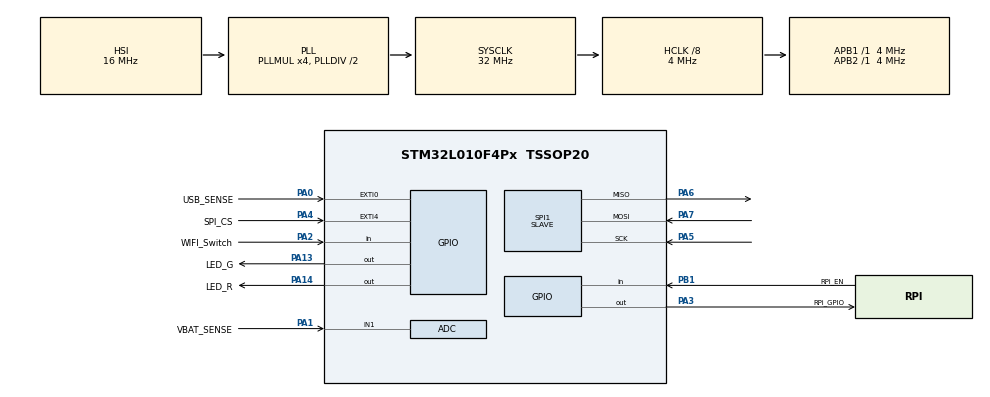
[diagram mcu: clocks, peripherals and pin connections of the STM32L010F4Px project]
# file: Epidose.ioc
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ADC.ClockPrescaler=ADC_CLOCK_ASYNC_DIV64
ADC.ContinuousConvMode=DISABLE
ADC.DMAContinuousRequests=DISABLE
ADC.ExternalTrigConv=ADC_SOFTWARE_START
ADC.LowPowerAutoWait=DISABLE
ADC.Resolution=ADC_RESOLUTION_12B
ADC.SamplingTime=ADC_SAMPLETIME_160CYCLES_5
Dma.Request0=SPI1_RX
Dma.Request1=SPI1_TX
Dma.SPI1_RX.0.Direction=DMA_PERIPH_TO_MEMORY
Dma.SPI1_RX.0.Instance=DMA1_Channel2
Dma.SPI1_RX.0.MemDataAlignment=DMA_MDATAALIGN_BYTE
Dma.SPI1_RX.0.MemInc=DMA_MINC_ENABLE
Dma.SPI1_RX.0.Mode=DMA_NORMAL
Dma.SPI1_RX.0.PeriphDataAlignment=DMA_PDATAALIGN_BYTE
Dma.SPI1_RX.0.PeriphInc=DMA_PINC_DISABLE
Dma.SPI1_RX.0.Priority=DMA_PRIORITY_LOW
Dma.SPI1_TX.1.Direction=DMA_MEMORY_TO_PERIPH
Dma.SPI1_TX.1.Instance=DMA1_Channel3
Dma.SPI1_TX.1.MemDataAlignment=DMA_MDATAALIGN_BYTE
Dma.SPI1_TX.1.MemInc=DMA_MINC_ENABLE
Dma.SPI1_TX.1.Mode=DMA_NORMAL
Dma.SPI1_TX.1.PeriphDataAlignment=DMA_PDATAALIGN_BYTE
Dma.SPI1_TX.1.PeriphInc=DMA_PINC_DISABLE
Dma.SPI1_TX.1.Priority=DMA_PRIORITY_LOW
Mcu.Family=STM32L0
Mcu.Name=STM32L010F4Px
Mcu.Package=TSSOP20
NVIC.DMA1_Channel2_3_IRQn=true\:0\:0\:false\:false\:true\:false\:true
NVIC.EXTI0_1_IRQn=true\:0\:0\:false\:false\:true\:true\:true
NVIC.EXTI4_15_IRQn=true\:0\:0\:false\:false\:true\:true\:true
NVIC.TIM2_IRQn=true\:0\:0\:false\:false\:true\:true\:true
PA0-CK_IN.GPIO_Label=USB_SENSE
PA0-CK_IN.GPIO_ModeDefaultEXTI=GPIO_MODE_IT_RISING_FALLING
PA0-CK_IN.Signal=GPXTI0
PA1.GPIO_Label=VBAT_SENSE
PA1.Mode=IN1
PA1.Signal=ADC_IN1
PA13.GPIO_Label=LED_G
PA13.PinState=GPIO_PIN_SET
PA13.Signal=GPIO_Output
PA14.GPIO_Label=LED_R
PA14.PinState=GPIO_PIN_SET
PA14.Signal=GPIO_Output
PA2.GPIO_Label=WIFI_Switch
PA2.Signal=GPIO_Input
PA3.GPIO_Label=RPi_GPIO
PA3.Signal=GPIO_Output
PA4.GPIO_Label=SPI_CS
PA4.GPIO_ModeDefaultEXTI=GPIO_MODE_IT_FALLING
PA4.Signal=GPXTI4
PA5.Mode=Full_Duplex_Slave
PA5.Signal=SPI1_SCK
PA6.Mode=Full_Duplex_Slave
PA6.Signal=SPI1_MISO
PA7.Mode=Full_Duplex_Slave
PA7.Signal=SPI1_MOSI
PB1.GPIO_Label=RPi_EN
PB1.Signal=GPIO_Input
PC14-OSC32_IN.Mode=LSE-External-Oscillator
PC14-OSC32_IN.Signal=RCC_OSC32_IN
PC15-OSC32_OUT.Mode=LSE-External-Oscillator
PC15-OSC32_OUT.Signal=RCC_OSC32_OUT
ProjectManager.HeapSize=0x200
ProjectManager.StackSize=0x400
ProjectManager.TargetToolchain=STM32CubeIDE
RCC.AHBCLKDivider=RCC_SYSCLK_DIV8
RCC.AHBFreq_Value=4000000
RCC.APB1Freq_Value=4000000
RCC.APB1TimFreq_Value=4000000
RCC.APB2Freq_Value=4000000
RCC.APB2TimFreq_Value=4000000
RCC.HCLKFreq_Value=4000000
RCC.HSE_VALUE=8000000
RCC.HSI16_VALUE=16000000
RCC.HSI_VALUE=16000000
RCC.LSE_Drive_Capability=RCC_LSEDRIVE_LOW
RCC.MSI_VALUE=2097000
RCC.PLLMUL=RCC_PLLMUL_4
RCC.RTCClockSelectionVirtual=RCC_RTCCLKSOURCE_LSE
RCC.SYSCLKFreq_VALUE=32000000
RCC.SYSCLKSource=RCC_SYSCLKSOURCE_PLLCLK
RCC.VCOOutputFreq_Value=64000000
SPI1.Direction=SPI_DIRECTION_2LINES
SPI1.Mode=SPI_MODE_SLAVE
SPI1.VirtualType=VM_SLAVE
TIM2.Period=7000
TIM2.Prescaler=2000
VP_RTC_VS_RTC_Activate.Mode=RTC_Enabled
VP_TIM2_VS_ClockSourceINT.Mode=Internal
board=custom

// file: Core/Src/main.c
/* USER CODE BEGIN Header */
/**
 ******************************************************************************
 * @file           : main.c
 * @brief          : Main program body
 ******************************************************************************
 * @attention
 *
 * <h2><center>&copy; Copyright (c) 2020 STMicroelectronics.
 * All rights reserved.</center></h2>
 *
 * This software component is licensed by ST under BSD 3-Clause license,
 * the "License"; You may not use this file except in compliance with the
 * License. You may obtain a copy of the License at:
 *                        opensource.org/licenses/BSD-3-Clause
 *
 ******************************************************************************
 */
/* USER CODE END Header */
#include "main.h"

/* USER CODE BEGIN Includes */
#include <stdio.h>
#include <string.h>
/* USER CODE END Includes */

/* USER CODE BEGIN PM */
#define   serialPrint(X)  		//(HAL_UART_Transmit(&huart2, X, sizeof(X), 100))
#define	  delay(X)				(HAL_Delay(X))

#define   pinWrite(X,Y,Z) 		(HAL_GPIO_WritePin(X, Y, Z))
#define	  pinRead(X,Y)			(HAL_GPIO_ReadPin(X,Y))
#define	  pinToggle(X,Y)		(HAL_GPIO_TogglePin(X,Y))
#define   delay(X)    			(HAL_Delay(X))

#define LOW 		GPIO_PIN_RESET
#define HIGH 		GPIO_PIN_SET
/* USER CODE END PM */

ADC_HandleTypeDef hadc;

RTC_HandleTypeDef hrtc;

SPI_HandleTypeDef hspi1;
DMA_HandleTypeDef hdma_spi1_rx;
DMA_HandleTypeDef hdma_spi1_tx;

TIM_HandleTypeDef htim2;

void SystemClock_Config(void);
static void MX_GPIO_Init(void);
static void MX_DMA_Init(void);
static void MX_ADC_Init(void);
static void MX_RTC_Init(void);
static void MX_SPI1_Init(void);
static void MX_TIM2_Init(void);
/* USER CODE BEGIN PFP */

void HAL_GPIO_EXTI_Callback(uint16_t GPIO_Pin);
void HAL_TIM_PeriodElapsedCallback(TIM_HandleTypeDef *htim);
void spi_parser(void);
void HAL_SPI_TxRxCpltCallback(SPI_HandleTypeDef *hspi);
void Set_RPI_EN_Output(GPIO_PinState pinState);
/* USER CODE END PFP */

/* USER CODE BEGIN 0 */
//change this to set SPI packet size
#define SPI_PACKET_LENGTH	4
#define RESTART_DELAY		500		//time between turning off and on RPI power supply
#define SHUTDOWN_DELAY		30000	//time to wait before shuting down
#define FIRMWARE_VERSION_MAJOR	0
#define FIRMWARE_VERSION_MINOR	2

//Global Variables
uint8_t USB_Status; // LOW (0) -> Not Connected, HIGH (1) -> Connected
uint16_t Battery_Voltage; // ADC Value
const uint16_t Battery_Dead_Threshold = 2120;
const uint16_t Battery_Low_Threshold = 2235;
const uint16_t Battery_Full_Threshold = 2500;
uint8_t ShutdownPending;
uint8_t SPI_rx[SPI_PACKET_LENGTH]; //SPI receive buffer
uint8_t SPI_tx[SPI_PACKET_LENGTH]; //SPI transmit buffer
uint32_t shutdownticks; //shutdown counter

//Volatile variables
volatile uint8_t Battery_Interrupt; //Battery interrupt indicator
volatile uint8_t SPI_Interrupt; //SPI Interrupt Indicator

/* USER CODE END 0 */

int main(void)
{

  /* MCU Configuration--------------------------------------------------------*/

  /* Reset of all peripherals, Initializes the Flash interface and the Systick. */
  HAL_Init();

  /* Configure the system clock */
  SystemClock_Config();

  /* Initialize all configured peripherals */
  MX_GPIO_Init();
  MX_DMA_Init();
  MX_ADC_Init();
  MX_RTC_Init();
  MX_SPI1_Init();
  MX_TIM2_Init();
  /* USER CODE BEGIN 2 */

	//Just in case
	delay(1000);

	//On Startup

	//are we booting after an rpi update? Check if RPI_EN is high(kept by RPi as it has a pull down)
	if(HAL_GPIO_ReadPin(RPi_EN_GPIO_Port,RPi_EN_Pin)==HIGH)
	{
		//booting after update, set pin to high (keep RPi on)
		Set_RPI_EN_Output(HIGH);
	}
	else
	{
		//plain boot, set pin to low (keep RPi off)
		Set_RPI_EN_Output(GPIO_PIN_RESET);
	}

	//Check whether USB is connected or not
	USB_Status = pinRead(USB_SENSE_GPIO_Port, USB_SENSE_Pin);

	//Start Battery Management Timer (HTIM2)
	HAL_TIM_Base_Start_IT(&htim2);

	//Battery Management variables
	Battery_Interrupt = 0;

	//SPI Variables
	SPI_Interrupt = 0;
	memset(SPI_rx,0x00,SPI_PACKET_LENGTH);
	memset(SPI_tx,0x00,SPI_PACKET_LENGTH);

	//Clear shutdown/restart counter and flag
	ShutdownPending=0;
	shutdownticks=0;

	//Clear Wake-Up flag
	__HAL_PWR_CLEAR_FLAG(PWR_FLAG_WU);

  /* USER CODE END 2 */

  /* Infinite loop */
  /* USER CODE BEGIN WHILE */
	while (1)
	{
		if (Battery_Interrupt == 1)
		{
			//Reset battery interrupt flag
			Battery_Interrupt = 0;

			//Sample battery voltage
			HAL_ADC_Start(&hadc);
			while (HAL_ADC_PollForConversion(&hadc, 500));
			Battery_Voltage = HAL_ADC_GetValue(&hadc);
			HAL_ADC_Stop(&hadc);

			//If battery voltage smaller than Battery_Dead_Threshold, enter standby mode
			if (Battery_Voltage <= Battery_Dead_Threshold)
			{
				//Turn off RPi
				pinWrite(RPi_EN_GPIO_Port, RPi_EN_Pin, LOW);

				//Enter Standby mode until USB is detected
				HAL_PWR_EnableWakeUpPin(PWR_WAKEUP_PIN1);
				HAL_PWR_EnterSTANDBYMode();
			}
			//Else, turn on (or keep on) RPi
			else
			{
				pinWrite(RPi_EN_GPIO_Port, RPi_EN_Pin, HIGH);
			}

			//If battery voltage is smaller than Battery_Low_Threshold, flash red LED
			if (Battery_Voltage <= Battery_Low_Threshold)
			{
				pinWrite (LED_R_GPIO_Port, LED_R_Pin, LOW);
				delay(500);
				pinWrite (LED_R_GPIO_Port, LED_R_Pin, HIGH);
			}

			//If USB cable is connected, turn on green led (charging)
			if (USB_Status == 1)
			{
				if (Battery_Voltage>Battery_Full_Threshold)
					pinWrite (LED_G_GPIO_Port, LED_G_Pin, LOW);
				else
					pinToggle (LED_G_GPIO_Port, LED_G_Pin);
			}
			else if (USB_Status == 0)
				pinWrite (LED_G_GPIO_Port, LED_G_Pin, HIGH);
		}

		//Handles pending SPI commands
		//SPI_Interrupt is set by SPI DMA callback function (HAL_SPI_TxRxCpltCallback)
		if (SPI_Interrupt == 1)
		{
			SPI_Interrupt = 0;
			spi_parser();
		}

		//Shutdown/Restart command has been received
		if (ShutdownPending == 1)
		{
			//Will shutdown
			if (HAL_GetTick() >= shutdownticks + SHUTDOWN_DELAY)
			{
				//Clear flags, Initialize shutdown timer
				shutdownticks = 0;
				ShutdownPending = 0;

				//Turn off RPi
				pinWrite(RPi_EN_GPIO_Port, RPi_EN_Pin, LOW);

				//Enter Standby mode until USB is detected
				HAL_PWR_EnableWakeUpPin(PWR_WAKEUP_PIN1);
				HAL_PWR_EnterSTANDBYMode();
			}

			//In case of SysTick overflow, reset counter
			else if (shutdownticks >= HAL_GetTick())
			{
				shutdownticks = HAL_GetTick();
			}
		}

		else if (ShutdownPending == 2)
		{
			//Will restart
			if (HAL_GetTick() >= shutdownticks + SHUTDOWN_DELAY)
			{
				//Clear flags, Initialize shutdown timer
				shutdownticks = 0;
				ShutdownPending = 0;

				//Turn off RPi
				pinWrite(RPi_EN_GPIO_Port, RPi_EN_Pin, LOW);
				delay(RESTART_DELAY);

				//Turn on RPi
				pinWrite(RPi_EN_GPIO_Port, RPi_EN_Pin, HIGH);

			}

			//In case of SysTick overflow, reset counter
			else if (shutdownticks >= HAL_GetTick())
			{
				shutdownticks = HAL_GetTick();
			}
		}

    /* USER CODE END WHILE */

	}
}

void SystemClock_Config(void)
{
  RCC_OscInitTypeDef RCC_OscInitStruct = {0};
  RCC_ClkInitTypeDef RCC_ClkInitStruct = {0};
  RCC_PeriphCLKInitTypeDef PeriphClkInit = {0};

  /** Configure the main internal regulator output voltage
  */
  __HAL_PWR_VOLTAGESCALING_CONFIG(PWR_REGULATOR_VOLTAGE_SCALE1);
  /** Configure LSE Drive Capability
  */
  HAL_PWR_EnableBkUpAccess();
  __HAL_RCC_LSEDRIVE_CONFIG(RCC_LSEDRIVE_LOW);
  /** Initializes the RCC Oscillators according to the specified parameters
  * in the RCC_OscInitTypeDef structure.
  */
  RCC_OscInitStruct.OscillatorType = RCC_OSCILLATORTYPE_HSI|RCC_OSCILLATORTYPE_LSE;
  RCC_OscInitStruct.LSEState = RCC_LSE_ON;
  RCC_OscInitStruct.HSIState = RCC_HSI_ON;
  RCC_OscInitStruct.HSICalibrationValue = RCC_HSICALIBRATION_DEFAULT;
  RCC_OscInitStruct.PLL.PLLState = RCC_PLL_ON;
  RCC_OscInitStruct.PLL.PLLSource = RCC_PLLSOURCE_HSI;
  RCC_OscInitStruct.PLL.PLLMUL = RCC_PLLMUL_4;
  RCC_OscInitStruct.PLL.PLLDIV = RCC_PLLDIV_2;
  if (HAL_RCC_OscConfig(&RCC_OscInitStruct) != HAL_OK)
  {
    Error_Handler();
  }
  /** Initializes the CPU, AHB and APB buses clocks
  */
  RCC_ClkInitStruct.ClockType = RCC_CLOCKTYPE_HCLK|RCC_CLOCKTYPE_SYSCLK
                              |RCC_CLOCKTYPE_PCLK1|RCC_CLOCKTYPE_PCLK2;
  RCC_ClkInitStruct.SYSCLKSource = RCC_SYSCLKSOURCE_PLLCLK;
  RCC_ClkInitStruct.AHBCLKDivider = RCC_SYSCLK_DIV8;
  RCC_ClkInitStruct.APB1CLKDivider = RCC_HCLK_DIV1;
  RCC_ClkInitStruct.APB2CLKDivider = RCC_HCLK_DIV1;

  if (HAL_RCC_ClockConfig(&RCC_ClkInitStruct, FLASH_LATENCY_0) != HAL_OK)
  {
    Error_Handler();
  }
  PeriphClkInit.PeriphClockSelection = RCC_PERIPHCLK_RTC;
  PeriphClkInit.RTCClockSelection = RCC_RTCCLKSOURCE_LSE;
  if (HAL_RCCEx_PeriphCLKConfig(&PeriphClkInit) != HAL_OK)
  {
    Error_Handler();
  }
}

static void MX_ADC_Init(void)
{

  ADC_ChannelConfTypeDef sConfig = {0};

  /** Configure the global features of the ADC (Clock, Resolution, Data Alignment and number of conversion)
  */
  hadc.Instance = ADC1;
  hadc.Init.OversamplingMode = DISABLE;
  hadc.Init.ClockPrescaler = ADC_CLOCK_ASYNC_DIV64;
  hadc.Init.Resolution = ADC_RESOLUTION_12B;
  hadc.Init.SamplingTime = ADC_SAMPLETIME_160CYCLES_5;
  hadc.Init.ScanConvMode = ADC_SCAN_DIRECTION_FORWARD;
  hadc.Init.DataAlign = ADC_DATAALIGN_RIGHT;
  hadc.Init.ContinuousConvMode = DISABLE;
  hadc.Init.DiscontinuousConvMode = DISABLE;
  hadc.Init.ExternalTrigConvEdge = ADC_EXTERNALTRIGCONVEDGE_NONE;
  hadc.Init.ExternalTrigConv = ADC_SOFTWARE_START;
  hadc.Init.DMAContinuousRequests = DISABLE;
  hadc.Init.EOCSelection = ADC_EOC_SINGLE_CONV;
  hadc.Init.Overrun = ADC_OVR_DATA_PRESERVED;
  hadc.Init.LowPowerAutoWait = DISABLE;
  hadc.Init.LowPowerFrequencyMode = ENABLE;
  hadc.Init.LowPowerAutoPowerOff = DISABLE;
  if (HAL_ADC_Init(&hadc) != HAL_OK)
  {
    Error_Handler();
  }
  /** Configure for the selected ADC regular channel to be converted.
  */
  sConfig.Channel = ADC_CHANNEL_1;
  sConfig.Rank = ADC_RANK_CHANNEL_NUMBER;
  if (HAL_ADC_ConfigChannel(&hadc, &sConfig) != HAL_OK)
  {
    Error_Handler();
  }

}

static void MX_RTC_Init(void)
{

  /** Initialize RTC Only
  */
  hrtc.Instance = RTC;
  hrtc.Init.HourFormat = RTC_HOURFORMAT_24;
  hrtc.Init.AsynchPrediv = 127;
  hrtc.Init.SynchPrediv = 255;
  hrtc.Init.OutPut = RTC_OUTPUT_DISABLE;
  hrtc.Init.OutPutRemap = RTC_OUTPUT_REMAP_NONE;
  hrtc.Init.OutPutPolarity = RTC_OUTPUT_POLARITY_HIGH;
  hrtc.Init.OutPutType = RTC_OUTPUT_TYPE_OPENDRAIN;
  if (HAL_RTC_Init(&hrtc) != HAL_OK)
  {
    Error_Handler();
  }

}

static void MX_SPI1_Init(void)
{

  /* SPI1 parameter configuration*/
  hspi1.Instance = SPI1;
  hspi1.Init.Mode = SPI_MODE_SLAVE;
  hspi1.Init.Direction = SPI_DIRECTION_2LINES;
  hspi1.Init.DataSize = SPI_DATASIZE_8BIT;
  hspi1.Init.CLKPolarity = SPI_POLARITY_LOW;
  hspi1.Init.CLKPhase = SPI_PHASE_1EDGE;
  hspi1.Init.NSS = SPI_NSS_SOFT;
  hspi1.Init.FirstBit = SPI_FIRSTBIT_MSB;
  hspi1.Init.TIMode = SPI_TIMODE_DISABLE;
  hspi1.Init.CRCCalculation = SPI_CRCCALCULATION_DISABLE;
  hspi1.Init.CRCPolynomial = 7;
  if (HAL_SPI_Init(&hspi1) != HAL_OK)
  {
    Error_Handler();
  }

}

static void MX_TIM2_Init(void)
{

  TIM_ClockConfigTypeDef sClockSourceConfig = {0};
  TIM_MasterConfigTypeDef sMasterConfig = {0};

  htim2.Instance = TIM2;
  htim2.Init.Prescaler = 2000;
  htim2.Init.CounterMode = TIM_COUNTERMODE_UP;
  htim2.Init.Period = 7000;
  htim2.Init.ClockDivision = TIM_CLOCKDIVISION_DIV1;
  htim2.Init.AutoReloadPreload = TIM_AUTORELOAD_PRELOAD_DISABLE;
  if (HAL_TIM_Base_Init(&htim2) != HAL_OK)
  {
    Error_Handler();
  }
  sClockSourceConfig.ClockSource = TIM_CLOCKSOURCE_INTERNAL;
  if (HAL_TIM_ConfigClockSource(&htim2, &sClockSourceConfig) != HAL_OK)
  {
    Error_Handler();
  }
  sMasterConfig.MasterOutputTrigger = TIM_TRGO_RESET;
  sMasterConfig.MasterSlaveMode = TIM_MASTERSLAVEMODE_DISABLE;
  if (HAL_TIMEx_MasterConfigSynchronization(&htim2, &sMasterConfig) != HAL_OK)
  {
    Error_Handler();
  }

}

static void MX_DMA_Init(void)
{

  /* DMA controller clock enable */
  __HAL_RCC_DMA1_CLK_ENABLE();

  /* DMA interrupt init */
  /* DMA1_Channel2_3_IRQn interrupt configuration */
  HAL_NVIC_SetPriority(DMA1_Channel2_3_IRQn, 0, 0);
  HAL_NVIC_EnableIRQ(DMA1_Channel2_3_IRQn);

}

static void MX_GPIO_Init(void)
{
  GPIO_InitTypeDef GPIO_InitStruct = {0};

  /* GPIO Ports Clock Enable */
  __HAL_RCC_GPIOC_CLK_ENABLE();
  __HAL_RCC_GPIOA_CLK_ENABLE();
  __HAL_RCC_GPIOB_CLK_ENABLE();

  /*Configure GPIO pin Output Level */
  HAL_GPIO_WritePin(RPi_GPIO_GPIO_Port, RPi_GPIO_Pin, GPIO_PIN_RESET);

  /*Configure GPIO pin Output Level */
  HAL_GPIO_WritePin(GPIOA, LED_G_Pin|LED_R_Pin, GPIO_PIN_SET);

  /*Configure GPIO pin : USB_SENSE_Pin */
  GPIO_InitStruct.Pin = USB_SENSE_Pin;
  GPIO_InitStruct.Mode = GPIO_MODE_IT_RISING_FALLING;
  GPIO_InitStruct.Pull = GPIO_NOPULL;
  HAL_GPIO_Init(USB_SENSE_GPIO_Port, &GPIO_InitStruct);

  /*Configure GPIO pin : WIFI_Switch_Pin */
  GPIO_InitStruct.Pin = WIFI_Switch_Pin;
  GPIO_InitStruct.Mode = GPIO_MODE_INPUT;
  GPIO_InitStruct.Pull = GPIO_NOPULL;
  HAL_GPIO_Init(WIFI_Switch_GPIO_Port, &GPIO_InitStruct);

  /*Configure GPIO pins : RPi_GPIO_Pin LED_G_Pin LED_R_Pin */
  GPIO_InitStruct.Pin = RPi_GPIO_Pin|LED_G_Pin|LED_R_Pin;
  GPIO_InitStruct.Mode = GPIO_MODE_OUTPUT_PP;
  GPIO_InitStruct.Pull = GPIO_NOPULL;
  GPIO_InitStruct.Speed = GPIO_SPEED_FREQ_LOW;
  HAL_GPIO_Init(GPIOA, &GPIO_InitStruct);

  /*Configure GPIO pin : SPI_CS_Pin */
  GPIO_InitStruct.Pin = SPI_CS_Pin;
  GPIO_InitStruct.Mode = GPIO_MODE_IT_FALLING;
  GPIO_InitStruct.Pull = GPIO_NOPULL;
  HAL_GPIO_Init(SPI_CS_GPIO_Port, &GPIO_InitStruct);

  /*Configure GPIO pin : RPi_EN_Pin */
  GPIO_InitStruct.Pin = RPi_EN_Pin;
  GPIO_InitStruct.Mode = GPIO_MODE_INPUT;
  GPIO_InitStruct.Pull = GPIO_NOPULL;
  HAL_GPIO_Init(RPi_EN_GPIO_Port, &GPIO_InitStruct);

  /* EXTI interrupt init*/
  HAL_NVIC_SetPriority(EXTI0_1_IRQn, 0, 0);
  HAL_NVIC_EnableIRQ(EXTI0_1_IRQn);

  HAL_NVIC_SetPriority(EXTI4_15_IRQn, 0, 0);
  HAL_NVIC_EnableIRQ(EXTI4_15_IRQn);

}

/* USER CODE BEGIN 4 */

void HAL_GPIO_EXTI_Callback(uint16_t GPIO_Pin)
{
	if (GPIO_Pin == GPIO_PIN_4)
	{
		//SPI CS is low
		//Receive data from RPi and transmit response made in main
		HAL_SPI_TransmitReceive_DMA(&hspi1,SPI_tx,SPI_rx,SPI_PACKET_LENGTH);

	}

	else if (GPIO_Pin == GPIO_PIN_0)
	{
		//USB is connected or disconnected
		//Update USB_Status variable

		if (USB_Status == LOW)
			USB_Status = HIGH;
		else if (USB_Status == HIGH)
			USB_Status = LOW;

	}
}

void HAL_TIM_PeriodElapsedCallback(TIM_HandleTypeDef *htim)
{
	Battery_Interrupt = 1;
}

void HAL_SPI_TxRxCpltCallback(SPI_HandleTypeDef *hspi)
{
	SPI_Interrupt = 1;
}

void spi_parser(void)
{
	//RTC Variables
	RTC_DateTypeDef sDate;
	RTC_TimeTypeDef sTime;

	switch(SPI_rx[0])
	{
//
	case 0://Do nothing, for reading previous value
		break;
//
	case 1://Battery voltage
		//Sample battery voltage
		SPI_tx[0] = Battery_Voltage>>8;
		SPI_tx[1] = Battery_Voltage;
		break;
//
	case 2: ; //Get time
		//Get time and date
		HAL_RTC_GetTime(&hrtc, &sTime, RTC_FORMAT_BIN);
		HAL_RTC_GetDate(&hrtc, &sDate, RTC_FORMAT_BIN);
		SPI_tx[0] = sTime.Hours;
		SPI_tx[1] = sTime.Minutes;
		SPI_tx[2] = sTime.Seconds;
		break;
//
	case 3: ;//Get date
		//Get time and date
		HAL_RTC_GetTime(&hrtc, &sTime, RTC_FORMAT_BIN);
		HAL_RTC_GetDate(&hrtc, &sDate, RTC_FORMAT_BIN);
		SPI_tx[0] = sDate.Date;
		SPI_tx[1] = sDate.Month;
		SPI_tx[2] = sDate.Year;
		break;
//
	case 4: ;//Set time
		sTime.Hours = SPI_rx[1];
		sTime.Minutes = SPI_rx[2];
		sTime.Seconds = SPI_rx[3];
		HAL_RTC_SetTime(&hrtc, &sTime, RTC_FORMAT_BIN);
		break;
//
	case 5: ;//Set date
		sDate.Date = SPI_rx[1];
		sDate.Month = SPI_rx[2];
		sDate.Year = SPI_rx[3];
		HAL_RTC_SetDate(&hrtc, &sDate, RTC_FORMAT_BIN);
		break;
//
	case 6: ; //Shutdown
		ShutdownPending = 1;
		shutdownticks = HAL_GetTick();
		break;
//
	case 7: ; //Restart
		ShutdownPending = 2;
		shutdownticks = HAL_GetTick();
		break;
//
	case 8: ; //LED check
//
		//Save LED STATUS
		uint8_t status_r,status_g;
		status_r = pinRead(LED_R_GPIO_Port, LED_R_Pin);
		status_g = pinRead(LED_G_GPIO_Port, LED_G_Pin);
//
		//Turn them off
		pinWrite(LED_G_GPIO_Port, LED_G_Pin, LOW);
		pinWrite(LED_R_GPIO_Port, LED_R_Pin, LOW);
//
		//Blink each led for 500 ms
		pinWrite(LED_G_GPIO_Port, LED_G_Pin, HIGH);
		pinWrite(LED_R_GPIO_Port, LED_R_Pin, LOW);
		delay(500);
		pinWrite(LED_G_GPIO_Port, LED_G_Pin, LOW);
		pinWrite(LED_R_GPIO_Port, LED_R_Pin, HIGH);
		delay(500);
//
		//Restore LEDs
		pinWrite(LED_G_GPIO_Port, LED_G_Pin, status_g);
		pinWrite(LED_R_GPIO_Port, LED_R_Pin, status_r);
		break;
//
	case 9: ; //Get Firmware Version
		SPI_tx[0] = FIRMWARE_VERSION_MAJOR;
		SPI_tx[1] = FIRMWARE_VERSION_MINOR;
		break;
	default:
		break;
	}

}

void Set_RPI_EN_Output(GPIO_PinState pinState)
{
	  GPIO_InitTypeDef GPIO_InitStruct = {0};

	  /*Configure GPIO pin Output Level */
	  HAL_GPIO_WritePin(RPi_EN_GPIO_Port, RPi_EN_Pin, pinState);

	  /*Configure GPIO pin : RPi_EN_Pin */
	  GPIO_InitStruct.Pin = RPi_EN_Pin;
	  GPIO_InitStruct.Mode = GPIO_MODE_OUTPUT_PP;
	  GPIO_InitStruct.Pull = GPIO_NOPULL;
	  GPIO_InitStruct.Speed = GPIO_SPEED_FREQ_LOW;
	  HAL_GPIO_Init(RPi_EN_GPIO_Port, &GPIO_InitStruct);

	  /*Configure GPIO pin Output Level */
	  HAL_GPIO_WritePin(RPi_EN_GPIO_Port, RPi_EN_Pin, pinState);

}

/* USER CODE END 4 */

void Error_Handler(void)
{
}

/************************ (C) COPYRIGHT STMicroelectronics *****END OF FILE****/
